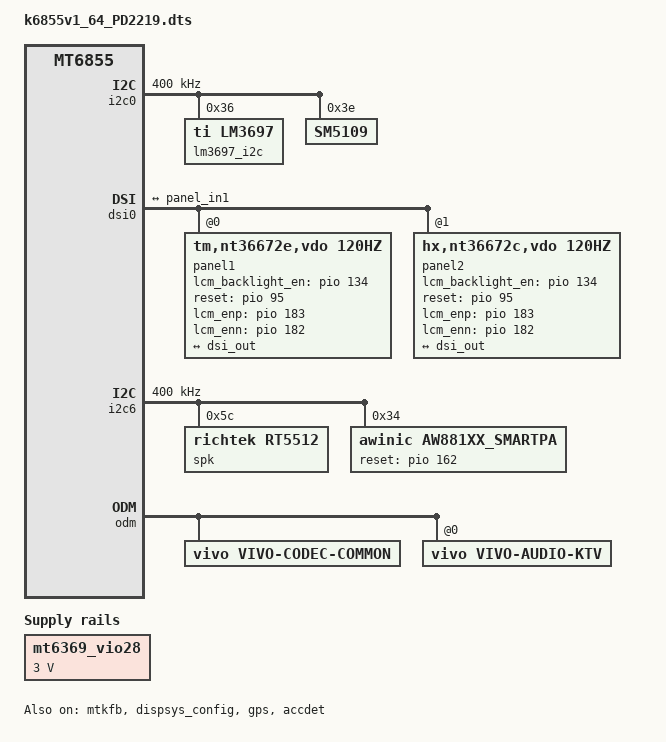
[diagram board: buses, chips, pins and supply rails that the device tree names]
// SPDX-License-Identifier: (GPL-2.0 OR MIT)
/*
 * Copyright (C) 2021 MediaTek Inc.
 */
/dts-v1/;
/plugin/;
#include <dt-bindings/interrupt-controller/arm-gic.h>
#include <dt-bindings/interrupt-controller/irq.h>
#include <dt-bindings/pinctrl/mt6855-pinfunc.h>

&mtk_leds {
	compatible = "mediatek,disp-leds";

	backlight {
		led_mode = <4>;
		gate_enable = <1>;
		pwm_config = <0 1 0 0 0>;
		label = "lcd-backlight";
		max-brightness = <2047>;
		led-bits = <11>;
		default-state="on";
	};
};

/* Trustonic Mobicore real driver */
&mobicore {
	trustonic,real-drv = <1>;
};

&pio {
	i2c0_active: i2c0_active {
		pins_cmd0_dat {
			pinmux = <PINMUX_GPIO137__FUNC_SCL0>,<PINMUX_GPIO138__FUNC_SDA0>;
			bias-pull-up;
		};
	};
	i2c0_suspend: i2c0_suspend {
		pins_cmd0_dat {
			pinmux = <PINMUX_GPIO137__FUNC_GPIO137>,<PINMUX_GPIO138__FUNC_GPIO138>;
			bias-pull-down;
		};
	};
};

&i2c0 {
	#address-cells = <1>;
	#size-cells = <0>;
	clock-frequency = <400000>;
	mediatek,use-open-drain;

	lm3697_i2c@36 {
		compatible = "ti,lm3697", "ktd3136";
		reg = <0x36>;
		status = "okay";
		leds_vivo,parallel_num = <3>;
		leds_vivo,hbm_current_values = /bits/ 8 <0xd 0x12 0x13 0x16>; //note: [0]=ctrl_a_fs_current,  [1]=hbm1, [2]=hbm2, [3]=hbm3
	};

	SM5109@3E {
		compatible = "SM5109";
		reg = <0x3E>;
		status = "okay";
		pinctrl-names = "default", "sleep";
		pinctrl-0 = <&i2c0_active>;
		pinctrl-1 = <&i2c0_suspend>;
	};

};
&pio {
	mtkfb_pins_lcm_led_en1: lcm_led_en1_gpio {
		pins_cmd_dat {
			pinmux = <PINMUX_GPIO161__FUNC_GPIO161>;
			slew-rate = <1>;
			output-high;
		};
	};

	mtkfb_pins_lcm_led_en0: lcm_led_en0_gpio {
		pins_cmd_dat {
			pinmux = <PINMUX_GPIO161__FUNC_GPIO161>;
			slew-rate = <1>;
			output-low;
		};
	};

	mtkfb_pins_lcm_rst_out1_gpio: lcm_rst_out1_gpio {
		pins_cmd_dat {
			pinmux = <PINMUX_GPIO95__FUNC_GPIO95>;
			slew-rate = <1>;
			output-high;
		};
	};

	mtkfb_pins_lcm_rst_out0_gpio: lcm_rst_out0_gpio {
		pins_cmd_dat {
			pinmux = <PINMUX_GPIO95__FUNC_GPIO95>;
			slew-rate = <1>;
			output-low;
		};
	};

	mtkfb_pins_lcm_dsi_te: lcm_dsi_te {
		pins_cmd_dat {
			pinmux = <PINMUX_GPIO94__FUNC_DSI_TE>;
		};
	};
};

&mtkfb {
	pinctrl-names = "lcm_led_en1_gpio", "lcm_led_en0_gpio",
		"lcm_rst_out1_gpio", "lcm_rst_out0_gpio",
		"mode_te_te";
	pinctrl-0 = <&mtkfb_pins_lcm_led_en1>;
	pinctrl-1 = <&mtkfb_pins_lcm_led_en0>;
	pinctrl-2 = <&mtkfb_pins_lcm_rst_out1_gpio>;
	pinctrl-3 = <&mtkfb_pins_lcm_rst_out0_gpio>;
	pinctrl-4 = <&mtkfb_pins_lcm_dsi_te>;
	status = "okay";
};

&dispsys_config {
	pinctrl-names =
		"lcm_rst_out1_gpio", "lcm_rst_out0_gpio",
		"mode_te_te";
	pinctrl-0 = <&mtkfb_pins_lcm_rst_out1_gpio>;
	pinctrl-1 = <&mtkfb_pins_lcm_rst_out0_gpio>;
	pinctrl-2 = <&mtkfb_pins_lcm_dsi_te>;
	status = "okay";
};

&dsi0 {
	status = "okay";
	#address-cells = <1>;
	#size-cells = <0>;
	switch_fps = <120>;
	panel1@0 {
		compatible = "tm,nt36672e,vdo,120hz";
		reg = <0>;
		lcm_backlight_en-gpios = <&pio 134 0>;
		reset-gpios = <&pio 95 0>;
		gate-ic = <0>;
		lcm_enp-gpios = <&pio 183 0>;
		lcm_enn-gpios = <&pio 182 0>;
		rc-enable = <1>;
		pinctrl-names = "default";
		port {
			panel_in1: endpoint {
				remote-endpoint = <&dsi_out>;
			};
		};
		vivo_panel_power_on {
			type =
				"gpio,high", "lcm_backlight_en-gpios",
				"gpio,high", "lcm_enp-gpios",
				"delay,usleep", "4180 4380",
				"gpio,high", "lcm_enn-gpios";
		};

		vivo_panel_power_off {
			type =
				"gpio,low", "lcm_enn-gpios",
				"delay,usleep", "5180 5380",
				"gpio,low", "lcm_enp-gpios",
				"delay,usleep", "4180 4380",
				"gpio,low", "lcm_backlight_en-gpios";
		};

		vivo_panel_reset {
			type =
				"delay,usleep", "5000 5100",
				"gpio,low", "reset-gpios",
				"delay,usleep", "5000 5100",
				"gpio,high", "reset-gpios",
				"delay,usleep", "1000 1100",
				"gpio,low", "reset-gpios",
				"delay,usleep", "5000 5100",
				"gpio,high", "reset-gpios",
				"delay,usleep", "12000 12100";
		};

		vivo_panel_shutdown {
			type =
				"delay,usleep", "3300 3800",
				"gpio,low", "reset-gpios",
				"delay,usleep", "2300 2800",
				"gpio,low", "lcm_enn-gpios",
				"delay,usleep", "5180 5380",
				"gpio,low", "lcm_enp-gpios",
				"delay,usleep", "4180 4380",
				"gpio,low", "lcm_backlight_en-gpios";
		};
	/* vivo panel power control end */
	};
	panel2@0 {
		compatible = "hx,nt36672c,vdo,120hz";
		reg = <1>;
		lcm_backlight_en-gpios = <&pio 134 0>;
		reset-gpios = <&pio 95 0>;
		gate-ic = <0>;
		lcm_enp-gpios = <&pio 183 0>;
		lcm_enn-gpios = <&pio 182 0>;
		rc-enable = <1>;
		pinctrl-names = "default";
		port {
			panel_in2: endpoint {
				remote-endpoint = <&dsi_out>;
			};
		};
		vivo_panel_power_on {
			type =
				"gpio,high", "lcm_backlight_en-gpios",
				"gpio,high", "lcm_enp-gpios",
				"delay,usleep", "4180 4380",
				"gpio,high", "lcm_enn-gpios";
		};

		vivo_panel_power_off {
			type =
				"gpio,low", "lcm_enn-gpios",
				"delay,usleep", "5180 5380",
				"gpio,low", "lcm_enp-gpios",
				"delay,usleep", "4180 4380",
				"gpio,low", "lcm_backlight_en-gpios";
		};

		vivo_panel_reset {
			type =
				"delay,usleep", "5000 5100",
				"gpio,low", "reset-gpios",
				"delay,usleep", "5000 5100",
				"gpio,high", "reset-gpios",
				"delay,usleep", "1000 1100",
				"gpio,low", "reset-gpios",
				"delay,usleep", "5000 5100",
				"gpio,high", "reset-gpios",
				"delay,usleep", "12000 12100";
		};

		vivo_panel_shutdown {
			type =
				"delay,usleep", "3300 3800",
				"gpio,low", "reset-gpios",
				"delay,usleep", "2300 2800",
				"gpio,low", "lcm_enn-gpios",
				"delay,usleep", "5180 5380",
				"gpio,low", "lcm_enp-gpios",
				"delay,usleep", "4180 4380",
				"gpio,low", "lcm_backlight_en-gpios";
		};
	/* vivo panel power control end */
	};

	ports {
		port {
			dsi_out: endpoint {
				remote-endpoint = <&panel_in1>;
			};
		};
	};
};

/* GPS GPIO standardization start */
&pio {
	gps_pins_default: gps_default {
	};
	gps_l1_lna_pins_ol: gps_l1_lna@0 {
		pins_cmd_dat {
			pinmux = <PINMUX_GPIO133__FUNC_GPIO133>;
			output-low;
		};
	};
	gps_l1_lna_pins_dsp_ctrl: gps_l1_lna@1 {
		pins_cmd_dat {
			pinmux = <PINMUX_GPIO133__FUNC_GPS_L1_ELNA_EN>;
		};
	};
	gps_l1_lna_pins_oh: gps_l1_lna@2 {
		pins_cmd_dat {
			pinmux = <PINMUX_GPIO133__FUNC_GPIO133>;
			output-high;
		};
	};
	gps_l5_lna_pins_ol: gps_l5_lna@0 {
		pins_cmd_dat {
			pinmux = <PINMUX_GPIO134__FUNC_GPIO134>;
			output-low;
		};
	};
	gps_l5_lna_pins_dsp_ctrl: gps_l5_lna@1 {
		pins_cmd_dat {
			pinmux = <PINMUX_GPIO134__FUNC_GPS_L5_ELNA_EN>;
		};
	};
	gps_l5_lna_pins_oh: gps_l5_lna@2 {
		pins_cmd_dat {
			pinmux = <PINMUX_GPIO134__FUNC_GPIO134>;
			output-high;
		};
	};
};
&gps {
	pinctrl-names = "default",
		"gps_l1_lna_disable",
		"gps_l1_lna_dsp_ctrl",
		"gps_l1_lna_enable",
		"gps_l5_lna_disable",
		"gps_l5_lna_dsp_ctrl",
		"gps_l5_lna_enable";
	pinctrl-0 = <&gps_pins_default>;
	pinctrl-1 = <&gps_l1_lna_pins_ol>;
	pinctrl-2 = <&gps_l1_lna_pins_dsp_ctrl>;
	pinctrl-3 = <&gps_l1_lna_pins_oh>;
	pinctrl-4 = <&gps_l5_lna_pins_ol>;
	pinctrl-5 = <&gps_l5_lna_pins_dsp_ctrl>;
	pinctrl-6 = <&gps_l5_lna_pins_oh>;
	status = "okay";
};
/* GPS GPIO standardization end */

//#include "mediatek/cust_mt6855_camera_v4l2.dtsi"
#include "mediatek/cust_mt6855_camera_PD2219.dtsi"

&i2c6 {
	spk: speaker_amp@5c {
		compatible = "richtek,rt5512";
		#sound-dai-cells = <0>;
		reg = <0x5c>;
		status = "okay";
		sound-name-prefix = "Left";
	};
};

&i2c6{
	status = "okay";
	clock-frequency = <400000>;

	aw881xx_smartpa: aw881xx_smartpa@34 {
		compatible = "awinic,aw881xx_smartpa";
		#sound-dai-cells = <0>;
		reg = <0x34>;
		reset-gpio = <&pio 162 0>;
		//irq-gpio = <&pio 5 0>;

		re-min = <6000>;
		re-max = <10000>;
		aw-cali-check = <1>;

		vivo,Type = "speaker";
		vivo,Impedance-Min-mo = <6000>;
		vivo,Impedance-Max-mo = <10000>;
		vivo,Frequency-Min-hz = <500>;
		vivo,Frequency-Max-hz = <1000>;
		vivo,Qt-Min-1000 = <1000>;

		status = "okay";
	};
};

&odm {
	vivo-codec-common {
		compatible = "vivo,vivo-codec-common";
		status = "okay";
	};
};

&sound {
	vivo,product-model = "PD2219";
	mediatek,spk-i2s = <3 0>;
	mediatek,speaker-codec {
		sound-dai = <&aw881xx_smartpa>;
	};
};


&accdet {
	accdet-mic-vol = <7>; //2.7v
	accdet-mic-mode = <1>; //ACC
	headset-key-mode = <1>; //0:ACCDET_THREE_KEY 1:ACCDET_FOUR_KEY
	headset-four-key-threshold = <0 62 106 220 447>; //modified by duanyitao for PD2219
	headset-use-ap-eint = <1>; //0:ACCDET_PMIC_EINT_IRQ 1:ACCDET_AP_GPIO_EINT
	headset-mode-setting = <0x500 0x500 1 0x1f0
				0x800 0x800 0x4000 0x44
				0x4 0x1
				0x5 0x3 0x3 0x5 0xe>;
	accdet-plugout-debounce = <16>;
	headset-eint-num = <3>;//disable ACCDET_PMIC_EINT0
	interrupt-parent = <&pio>;
	interrupts = <21 IRQ_TYPE_LEVEL_LOW>;
	interrupt-names = "ap_eint";
	deb-gpios = <&pio 21 0>;
	debounce = <256000>;
	pinctrl-names = "default", "state_eint_as_int";
	pinctrl-0 = <&accdet_pins_default>;
	pinctrl-1 = <&accdet_pins_eint_as_int>;
	status = "okay";
};
&odm {
	vivo-audio-ktv@0 {
		compatible = "vivo,vivo-audio-ktv";
		status = "okay";
	};
};

&pio {
	accdet_pins_default: accdetdefault {
	};
	accdet_pins_eint_as_int: accdeteint@0 {
		pins_cmd_dat {
			pinmux = <PINMUX_GPIO21__FUNC_GPIO21>;
			slew-rate = <0>;
			bias-disable;
		};
	};
};

&pdc {
	pd_vbus_upper_bound = <12000000>;
};

/* usb typec mux start */
&mt6375_typec {
	/* 0: Unknown, 1: SNK, 2: SRC, 3: DRP, 4: Try.SRC, 5: Try.SNK */
	tcpc,role_def = <1>;
	vivo-wd0-detection;
	tcpc,en_floatgnd;
};
/* add for proximity led by sensor team begin */
&mt6369_vio28 {
	regulator-min-microvolt = <3000000>;
	regulator-max-microvolt = <3000000>;
	regulator-always-on;
};
/* add for proximity led by sensor team end*/

/* add by sensor team for SAR Power begin*/
&pio {
	sar_power_state: sar_power_rf_detect {
		pins_cmd0_dat {
			pinmux = <PINMUX_GPIO17__FUNC_GPIO17>,<PINMUX_GPIO18__FUNC_GPIO18>,<PINMUX_GPIO19__FUNC_GPIO19>;
			slew-rate = <0>;
			bias-disable;
		};
	};
};

&sar_power {
	status="okay";
	pinctrl-names = "default";
	pinctrl-0 = <&sar_power_state>;
	sar-power-rf-detect,gpios= <&pio 17 0x0>;
	sar-power-rf-detect_1,gpios= <&pio 19 0x0>;
	sar-power-rf-detect_2,gpios= <&pio 18 0x0>;
};
/* add by sensor team for SAR Power end*/

//#include <k6855v1_64/cust.dtsi>
#include "mediatek/cust_vivo_PD2219.dtsi"
#include "mediatek/bat_setting/cust_vivo_charge_PD2219.dtsi"
#include "mediatek/fingerprint/mt6855-vivo-fp-PD2219.dtsi"
#include "mtk-vivo-tp-PD2219.dtsi"
/*End of this file, DO NOT ADD ANYTHING HERE*/
